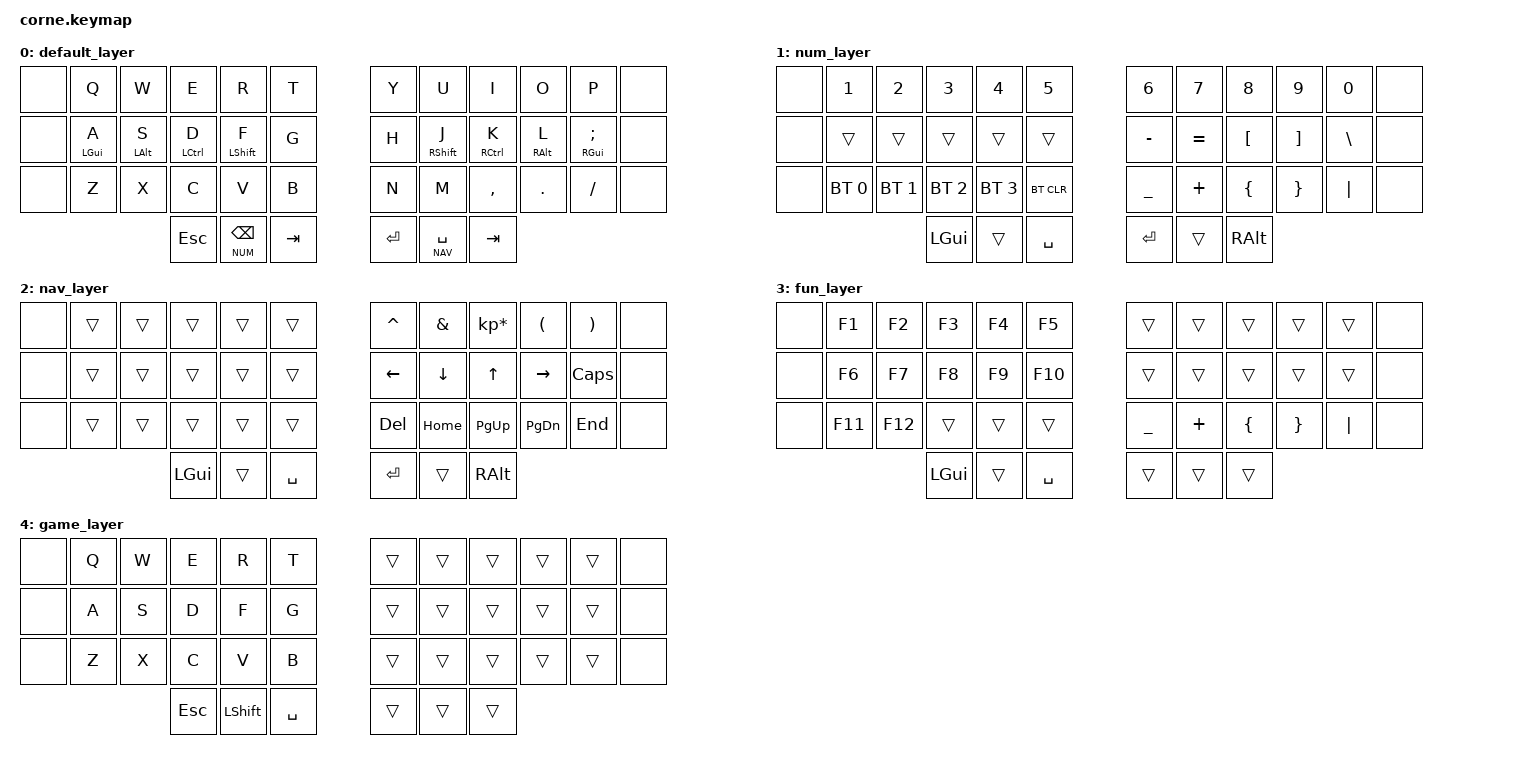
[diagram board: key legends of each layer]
/*
 * Copyright (c) 2020 The ZMK Contributors
 *
 * SPDX-License-Identifier: MIT
 */

#include <behaviors.dtsi>
#include <dt-bindings/zmk/keys.h>
#include <dt-bindings/zmk/bt.h>

#define DEFAULT 0
#define NUM     1
#define NAV     2
#define FUN     3
#define GAME    4

/ {
    combos {
        compatible = "zmk,combos";
        combo_esc {
            timeout-ms = <50>;
            key-positions = <39 40>;
            bindings = <&mo FUN>;
        };
        combo_game {
              timeout-ms = <50>;
              key-positions = <37 38>;
              bindings = <&tog GAME>;
          };
      };
  };

/ {
    behaviors {
        hm: homerow_mods {
            compatible = "zmk,behavior-hold-tap";
            label = "HOMEROW_MODS";
            #binding-cells = <2>;
            tapping-term-ms = <250>;
            flavor = "tap-preferred";
            bindings = <&kp>, <&kp>;
        };
    };

        keymap {
                compatible = "zmk,keymap";

                default_layer {
// -----------------------------------------------------------------------------------------
// | N/A |    Q    |     W    |     E     |          R       |  T  |      |  Y    |        U        |     I     |     O    |     P    | N/A |
// | N/A | Cmd / A | LALT / S | LCTRL / D |   LSHIFT / F     |  G  |      |  H    |    RSHIFT / J   | RCTRL / K | RALT / L | RGUI / ; | N/A |
// | N/A |    Z    |     X    |     C     |          V       |  B  |      |  N    |        M        |     ,     |     .    |     /    | N/A |
//                            |    Cmd    | num_layer / BSPC | TAB |      | ENTER | nav_layer / SPC |    ALT    |
                        bindings = <
   &none &kp Q      &kp W      &kp E       &kp R        &kp T         &kp Y   &kp U         &kp I       &kp O      &kp P         &none
   &none &hm LGUI A &hm LALT S &hm LCTRL D &hm LSHIFT F &kp G         &kp H   &hm RSHIFT J  &hm RCTRL K &hm RALT L &hm RGUI SEMI &none
   &none &kp Z      &kp X      &kp C       &kp V        &kp B         &kp N   &kp M         &kp COMMA   &kp DOT    &kp FSLH      &none
                                  &kp ESC  &lt NUM BSPC &kp TAB       &kp RET &lt NAV SPACE &kp TAB
                        >;
                };

                num_layer {
// -----------------------------------------------------------------------------------------
// | N/A |  1  |  2  |  3  |  4  |  5  |      |  6  |  7  |  8  |  9  |  0  | N/A |
// | N/A |     |     |     |     |     |      |MINUS|EQUAL|LBKT |RBKT |BSLH | N/A |
// | N/A | BT1 | BT2 | BT3 | BT4 |BTCLR|      |UNDER|PLUS |LBRC |RBRC |PIPE | N/A |
//                   | GUI |     | SPC |      | ENT |     | ALT |
                        bindings = <
   &none &kp N1       &kp N2       &kp N3       &kp N4       &kp N5           &kp N6    &kp N7    &kp N8   &kp N9   &kp N0   &none
   &none &trans       &trans       &trans       &trans       &trans           &kp MINUS &kp EQUAL &kp LBKT &kp RBKT &kp BSLH &none
   &none &bt BT_SEL 0 &bt BT_SEL 1 &bt BT_SEL 2 &bt BT_SEL 3 &bt BT_CLR       &kp UNDER &kp PLUS  &kp LBRC &kp RBRC &kp PIPE &none
                          	       &kp LGUI     &trans       &kp SPACE        &kp RET   &trans    &kp RALT
                        >;
                };

                nav_layer {
// -----------------------------------------------------------------------------------------
// | N/A |     |     |     |     |     |   |     |     |     |     |     | N/A |
// | N/A |     |     |     |     |     |   |LEFT |DOWN |  UP |RIGHT|CAPS | N/A |
// | N/A |     |     |     |     |     |   | DEL |HOME |PG_UP|PG_DN| END | N/A |
//                   | GUI |     | SPC |   | ENT |     | ALT |
                        bindings = <
   &none &trans   &trans &trans   &trans   &trans         &kp CARET &kp AMPS &kp KP_MULTIPLY &kp LPAR  &kp RPAR &none
   &none &trans   &trans &trans   &trans   &trans         &kp LEFT  &kp DOWN &kp UP          &kp RIGHT &kp CAPS &none
   &none &trans   &trans &trans   &trans   &trans         &kp DEL   &kp HOME &kp PG_UP       &kp PG_DN &kp END  &none
                    	   &kp LGUI &trans   &kp SPACE      &kp RET   &trans   &kp RALT
                        >;
                };

                fun_layer {
// -----------------------------------------------------------------------------------------
// | N/A | FN1 | FN2 | FN3 | FN4 | FN5 |   |     |     |     |     |     | N/A |
// | N/A | FN6 | FN7 | FN8 | FN9 |FN10 |   |     |     |     |     |     | N/A |
// | N/A |FN11 |FN12 |     |     |     |   |     |     |     |     |     | N/A |
//                   | GUI |     | SPC |   | ENT |     |     |
                        bindings = <
   &none &kp F1  &kp F2  &kp F3   &kp F4 &kp F5     &trans    &trans    &trans   &trans   &trans   &none
   &none &kp F6  &kp F7  &kp F8   &kp F9 &kp F10    &trans    &trans    &trans   &trans   &trans   &none
   &none &kp F11 &kp F12 &trans   &trans &trans     &kp UNDER &kp PLUS  &kp LBRC &kp RBRC &kp PIPE &none
                         &kp LGUI &trans &kp SPACE  &trans    &trans    &trans
                        >;
                };
                
                game_layer {
// -----------------------------------------------------------------------------------------
// | N/A | FN1 | FN2 | FN3 | FN4 | FN5 |   |     |     |     |     |     | N/A |
// | N/A | FN6 | FN7 | FN8 | FN9 |FN10 |   |     |     |     |     |     | N/A |
// | N/A |FN11 |FN12 |     |     |     |   |     |     |     |     |     | N/A |
//                   | GUI |     | SPC |   | ENT |     |     |
                        bindings = <
   &none &kp Q &kp W &kp E   &kp R   &kp T       &trans &trans &trans &trans &trans &none
   &none &kp A &kp S &kp D   &kp F   &kp G       &trans &trans &trans &trans &trans &none
   &none &kp Z &kp X &kp C   &kp V   &kp B       &trans &trans &trans &trans &trans &none
                     &kp ESC &kp LSHIFT &kp SPACE   &trans &trans &trans
                        >;
                };
        };
};
